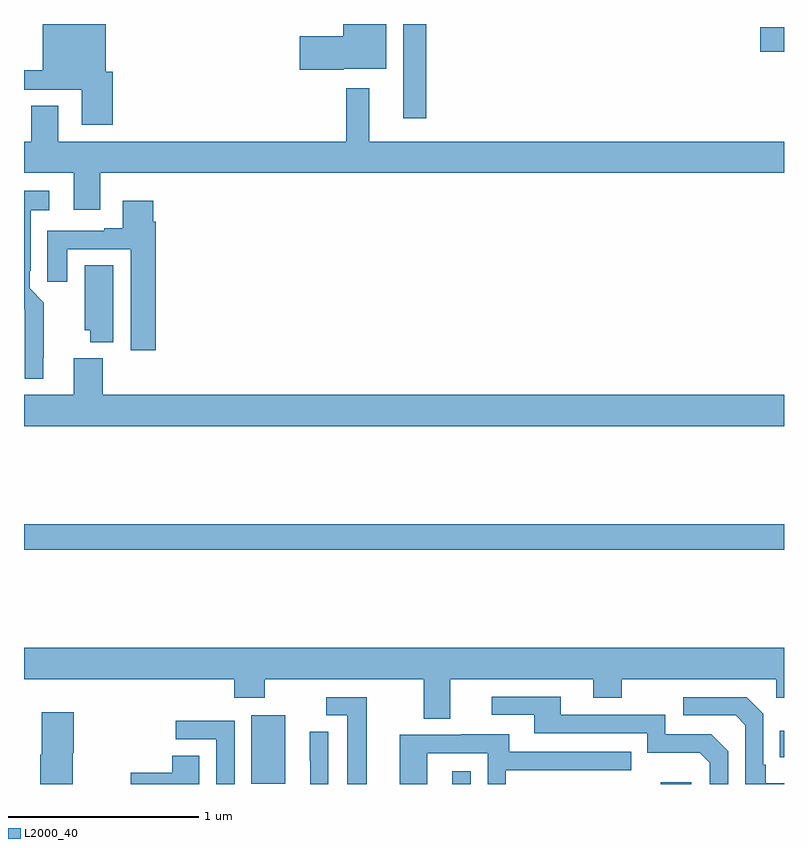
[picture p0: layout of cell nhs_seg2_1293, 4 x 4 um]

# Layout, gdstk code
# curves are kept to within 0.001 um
import gdstk
lib = gdstk.Library(unit=1e-6, precision=1e-09)
def R(c, l, rs):  # rectangles x0, y0, x1, y1
    for r in rs: c.add(gdstk.rectangle(r[:2], r[2:], *l))
def P(c, l, *ps):  # polygons
    for p in ps: c.add(gdstk.Polygon(p, *l))
L2000_40 = (2000, 40)

nhs_seg2_1293 = lib.new_cell('nhs_seg2_1293')
R(nhs_seg2_1293, L2000_40, [(181.253,597.8,181.35,597.868), (182.351,597.8,182.512,597.808), (180.197,597.801,180.376,598.162), (182.977,597.941,183,598.081), (179,599.032,183,599.168), (180.995,601.305,181.117,601.8), (182.874,601.654,183,601.783)])
P(nhs_seg2_1293, L2000_40, [(180.684,601.565),(180.907,601.565),(180.907,601.8),(180.68,601.8),(180.68,601.736),(180.45,601.736),(180.45,601.558),(180.684,601.558)],
  [(179.468,601.548),(179.431,601.548),(179.431,601.8),(179.099,601.8),(179.099,601.556),(179,601.556),(179,601.455),(179.303,601.455),(179.303,601.269),(179.468,601.269)],
  [(179.401,601.016),(183,601.016),(183,601.18),(180.817,601.18),(180.817,601.462),(180.696,601.462),(180.696,601.18),(179.179,601.18),(179.179,601.37),(179.039,601.37),(179.039,601.18),(179,601.18),(179,601.016),(179.261,601.016),(179.261,600.822),(179.401,600.822)],
  [(179.101,600.043),(179.105,600.043),(179.105,600.334),(179.031,600.408),(179.031,600.502),(179.035,600.502),(179.035,600.821),(179.134,600.821),(179.134,600.922),(179,600.922),(179,600.3),(179.004,600.296),(179.003,599.933),(179.101,599.933)],
  [(179.693,600.758),(179.68,600.758),(179.68,600.871),(179.519,600.871),(179.519,600.724),(179.423,600.724),(179.423,600.711),(179.123,600.711),(179.123,600.444),(179.227,600.444),(179.227,600.615),(179.561,600.615),(179.561,600.084),(179.693,600.084)],
  [(179.47,600.53),(179.321,600.53),(179.321,600.189),(179.348,600.189),(179.348,600.125),(179.47,600.125)],
  [(183,599.848),(179.414,599.848),(179.414,600.04),(179.261,600.04),(179.261,599.848),(179,599.848),(179,599.684),(183,599.684)],
  [(181.243,598.352),(181.997,598.352),(181.997,598.253),(182.145,598.253),(182.145,598.352),(182.958,598.352),(182.958,598.253),(183,598.253),(183,598.516),(179,598.516),(179,598.352),(180.107,598.352),(180.107,598.253),(180.267,598.253),(180.267,598.352),(181.103,598.352),(181.103,598.144),(181.243,598.144)],
  [(182.706,597.972),(182.616,598.062),(182.376,598.062),(182.376,598.164),(181.825,598.164),(181.825,598.26),(181.461,598.26),(181.461,598.164),(181.685,598.164),(181.685,598.068),(182.28,598.068),(182.28,597.965),(182.557,597.965),(182.61,597.912),(182.61,597.8),(182.706,597.8)],
  [(180.805,598.257),(180.591,598.257),(180.591,598.161),(180.701,598.161),(180.701,597.8),(180.805,597.8)],
  [(183,597.805),(182.905,597.805),(182.905,597.901),(182.892,597.901),(182.892,598.17),(182.805,598.257),(182.469,598.257),(182.469,598.161),(182.745,598.161),(182.796,598.11),(182.796,597.8),(183,597.8)],
  [(179.256,597.964),(179.261,597.964),(179.261,598.177),(179.093,598.177),(179.093,597.953),(179.086,597.953),(179.086,597.8),(179.256,597.8)],
  [(180.108,598.134),(179.799,598.134),(179.799,598.035),(180.012,598.035),(180.012,597.8),(180.108,597.8)],
  [(180.6,598.076),(180.504,598.076),(180.504,597.922),(180.506,597.922),(180.506,597.8),(180.6,597.8)],
  [(181.122,597.963),(181.44,597.963),(181.44,597.8),(181.536,597.8),(181.536,597.873),(182.195,597.873),(182.195,597.969),(181.555,597.969),(181.555,598.063),(181.301,598.063),(181.301,598.059),(180.977,598.059),(180.977,597.8),(181.122,597.8)],
  [(179.923,597.95),(179.78,597.95),(179.78,597.86),(179.562,597.86),(179.562,597.8),(179.923,597.8)])

lib.write_gds('nhs_seg2_1293.gds')
